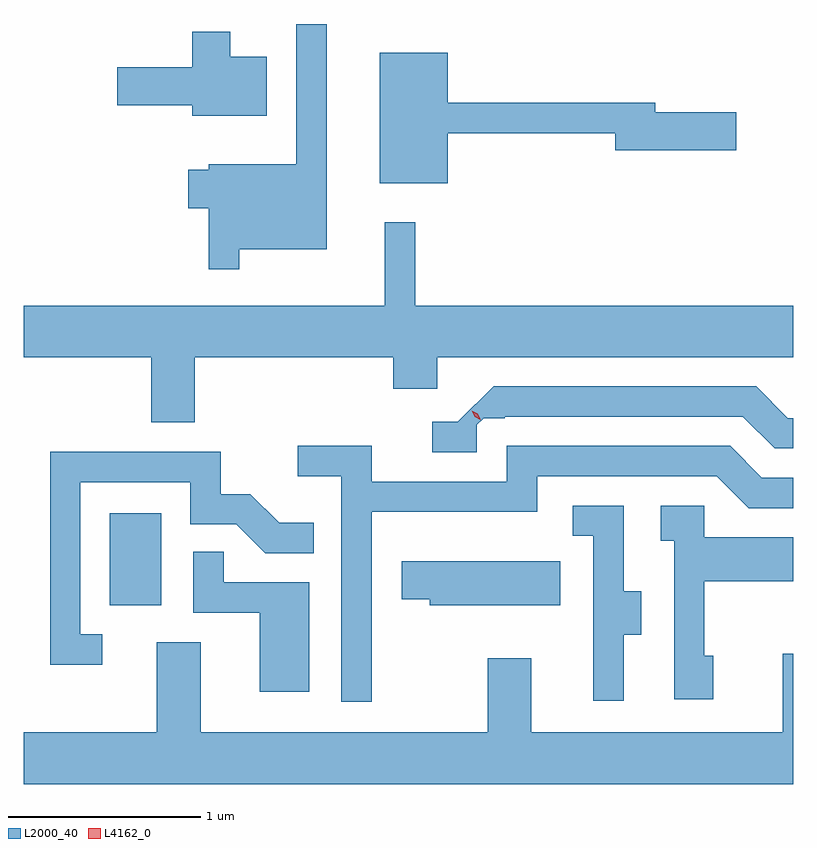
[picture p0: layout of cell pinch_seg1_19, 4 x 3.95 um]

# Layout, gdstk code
import gdstk
lib = gdstk.Library(unit=1e-6, precision=1e-09)
def R(c, l, rs):  # rectangles x0, y0, x1, y1
    for r in rs: c.add(gdstk.rectangle(r[:2], r[2:], *l))
def P(c, l, *ps):  # polygons
    for p in ps: c.add(gdstk.Polygon(p, *l))
L2000_40 = (2000, 40)
L4162_0 = (4162, 0)

pinch_seg1_19 = lib.new_cell('pinch_seg1_19')
R(pinch_seg1_19, L2000_40, [(1855.066,882.746,1855.334,883.224)])
P(pinch_seg1_19, L2000_40, [(1855.739,884.596),(1856.194,884.596),(1856.194,885.768),(1856.036,885.768),(1856.036,885.039),(1855.581,885.039),(1855.581,885.009),(1855.476,885.009),(1855.476,884.811),(1855.581,884.811),(1855.581,884.493),(1855.739,884.493)],
  [(1855.884,885.599),(1855.694,885.599),(1855.694,885.729),(1855.496,885.729),(1855.496,885.544),(1855.106,885.544),(1855.106,885.346),(1855.496,885.346),(1855.496,885.291),(1855.884,885.291)],
  [(1856.824,885.201),(1857.696,885.201),(1857.696,885.111),(1858.324,885.111),(1858.324,885.309),(1857.904,885.309),(1857.904,885.359),(1856.824,885.359),(1856.824,885.619),(1856.471,885.619),(1856.471,884.941),(1856.824,884.941)],
  [(1855.509,884.036),(1856.541,884.036),(1856.541,883.871),(1856.769,883.871),(1856.769,884.036),(1858.62,884.036),(1858.62,884.304),(1856.654,884.304),(1856.654,884.738),(1856.496,884.738),(1856.496,884.304),(1854.62,884.304),(1854.62,884.036),(1855.281,884.036),(1855.281,883.696),(1855.509,883.696)],
  [(1856.975,883.684),(1857.01,883.719),(1857.121,883.719),(1857.121,883.726),(1858.359,883.726),(1858.524,883.561),(1858.62,883.561),(1858.62,883.719),(1858.592,883.719),(1858.427,883.884),(1857.062,883.884),(1856.877,883.699),(1856.743,883.699),(1856.743,883.541),(1856.975,883.541)],
  [(1856.429,883.231),(1857.289,883.231),(1857.289,883.416),(1858.224,883.416),(1858.389,883.251),(1858.62,883.251),(1858.62,883.409),(1858.457,883.409),(1858.292,883.574),(1857.131,883.574),(1857.131,883.389),(1856.429,883.389),(1856.429,883.574),(1856.043,883.574),(1856.043,883.416),(1856.271,883.416),(1856.271,882.243),(1856.429,882.243)],
  [(1855.028,882.594),(1854.914,882.594),(1854.914,883.386),(1855.486,883.386),(1855.486,883.166),(1855.724,883.166),(1855.874,883.016),(1856.128,883.016),(1856.128,883.174),(1855.947,883.174),(1855.797,883.324),(1855.644,883.324),(1855.644,883.544),(1854.756,883.544),(1854.756,882.436),(1855.028,882.436)],
  [(1857.739,882.591),(1857.829,882.591),(1857.829,882.819),(1857.739,882.819),(1857.739,883.264),(1857.473,883.264),(1857.473,883.106),(1857.581,883.106),(1857.581,882.248),(1857.739,882.248)],
  [(1858.204,882.484),(1858.159,882.484),(1858.159,882.871),(1858.62,882.871),(1858.62,883.099),(1858.159,883.099),(1858.159,883.264),(1857.931,883.264),(1857.931,883.081),(1858.001,883.081),(1858.001,882.256),(1858.204,882.256)],
  [(1856.104,882.864),(1855.659,882.864),(1855.659,883.023),(1855.501,883.023),(1855.501,882.706),(1855.846,882.706),(1855.846,882.296),(1856.104,882.296)],
  [(1857.409,882.974),(1856.586,882.974),(1856.586,882.776),(1856.731,882.776),(1856.731,882.746),(1857.409,882.746)],
  [(1858.62,882.493),(1858.566,882.493),(1858.566,882.084),(1857.259,882.084),(1857.259,882.469),(1857.031,882.469),(1857.031,882.084),(1855.539,882.084),(1855.539,882.554),(1855.311,882.554),(1855.311,882.084),(1854.62,882.084),(1854.62,881.816),(1858.62,881.816)])
P(pinch_seg1_19, L4162_0, [(1856.987,883.715),(1856.964,883.726),(1856.954,883.75),(1856.954,883.751),(1856.955,883.751),(1856.978,883.74),(1856.988,883.716),(1856.988,883.715)],
  [(1856.994,883.71),(1856.964,883.727),(1856.948,883.757),(1856.948,883.758),(1856.949,883.758),(1856.979,883.741),(1856.995,883.71),(1856.995,883.71)])

lib.write_gds('pinch_seg1_19.gds')
